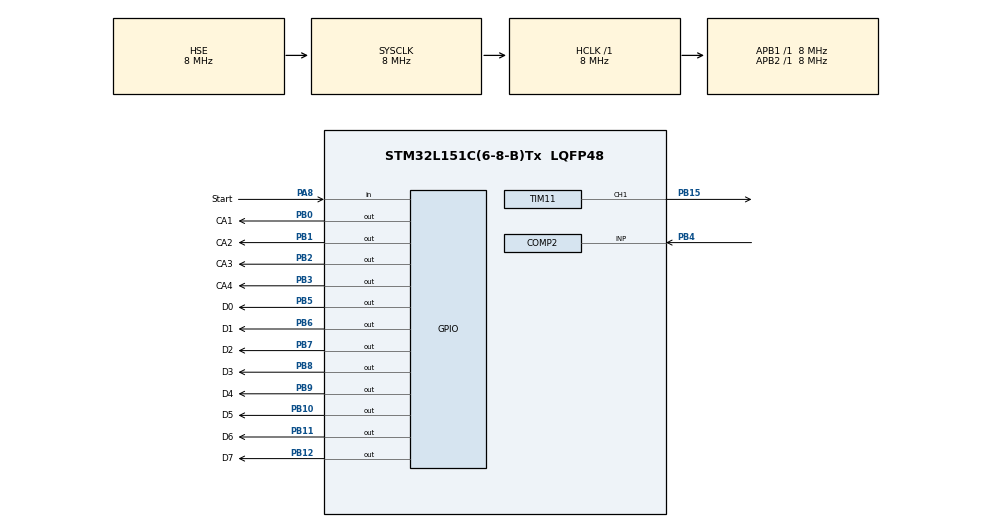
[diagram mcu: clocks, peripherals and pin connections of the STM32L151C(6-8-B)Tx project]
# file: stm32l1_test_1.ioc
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COMP2.InvertingInput=COMP_INVERTINGINPUT_VREFINT
COMP2.Mode=COMP_MODE_HIGHSPEED
COMP2.Output=COMP_OUTPUT_TIM4IC4
Mcu.Family=STM32L1
Mcu.Name=STM32L151C(6-8-B)Tx
Mcu.Package=LQFP48
NVIC.PriorityGroup=NVIC_PRIORITYGROUP_4
NVIC.TIM3_IRQn=true\:0\:0\:false\:false\:true\:true
NVIC.TIM4_IRQn=true\:0\:0\:false\:false\:true\:true
NVIC.TIM9_IRQn=true\:0\:0\:false\:false\:true\:true
PA8.GPIO_Label=Start
PA8.GPIO_PuPd=GPIO_PULLUP
PA8.Signal=GPIO_Input
PB0.GPIO_Label=CA1
PB0.Signal=GPIO_Output
PB1.GPIO_Label=CA2
PB1.Signal=GPIO_Output
PB10.GPIO_Label=D5
PB10.Signal=GPIO_Output
PB11.GPIO_Label=D6
PB11.Signal=GPIO_Output
PB12.GPIO_Label=D7
PB12.Signal=GPIO_Output
PB15.Signal=S_TIM11_CH1
PB2.GPIO_Label=CA3
PB2.Signal=GPIO_Output
PB3.GPIO_Label=CA4
PB3.Signal=GPIO_Output
PB4.Mode=INP
PB4.Signal=COMP2_INP
PB5.GPIO_Label=D0
PB5.Signal=GPIO_Output
PB6.GPIO_Label=D1
PB6.Signal=GPIO_Output
PB7.GPIO_Label=D2
PB7.Signal=GPIO_Output
PB8.GPIO_Label=D3
PB8.Signal=GPIO_Output
PB9.GPIO_Label=D4
PB9.Signal=GPIO_Output
PH0-OSC_IN.Mode=HSE-External-Oscillator
PH0-OSC_IN.Signal=RCC_OSC_IN
PH1-OSC_OUT.Mode=HSE-External-Oscillator
PH1-OSC_OUT.Signal=RCC_OSC_OUT
ProjectManager.HeapSize=0x200
ProjectManager.StackSize=0x400
ProjectManager.TargetToolchain=SW4STM32
RCC.48MHZClocksFreq_Value=48000000
RCC.AHBFreq_Value=8000000
RCC.APB1Freq_Value=8000000
RCC.APB1TimFreq_Value=8000000
RCC.APB2Freq_Value=8000000
RCC.APB2TimFreq_Value=8000000
RCC.HCLKFreq_Value=8000000
RCC.HSE_VALUE=8000000
RCC.HSI_VALUE=16000000
RCC.LSE_VALUE=32768
RCC.MSI_VALUE=2097000
RCC.PLLDIV=RCC_PLL_DIV3
RCC.PLLMUL=RCC_PLL_MUL12
RCC.PLLSourceVirtual=RCC_PLLSOURCE_HSE
RCC.SYSCLKFreq_VALUE=8000000
RCC.SYSCLKSource=RCC_SYSCLKSOURCE_HSE
RCC.TimPrescaler=SYSTICK_CLKSOURCE_HCLK_DIV8
RCC.VCOOutputFreq_Value=96000000
SH.S_TIM11_CH1.0=TIM11_CH1,PWM Generation1 CH1
TIM11.Channel=TIM_CHANNEL_1
TIM11.Period=2000-1
TIM11.Pulse=800-1
TIM3.Channel-Output\ Compare1\ No\ Output=TIM_CHANNEL_1
TIM3.Channel-Output\ Compare2\ No\ Output=TIM_CHANNEL_2
TIM3.Channel-Output\ Compare3\ No\ Output=TIM_CHANNEL_3
TIM3.Channel-Output\ Compare4\ No\ Output=TIM_CHANNEL_4
TIM3.Period=200-1
TIM3.Prescaler=400-1
TIM3.Pulse-Output\ Compare1\ No\ Output=25-1
TIM3.Pulse-Output\ Compare2\ No\ Output=75-1
TIM3.Pulse-Output\ Compare3\ No\ Output=125-1
TIM3.Pulse-Output\ Compare4\ No\ Output=175-1
TIM3.TIM_MasterOutputTrigger=TIM_TRGO_UPDATE
TIM4.Period=60000-1
TIM9.Period=2000-1
VP_COMP2_VS_VREFINT.Mode=VREFINT
VP_TIM11_VS_ClockSourceINT.Mode=Internal
VP_TIM3_VS_ClockSourceINT.Mode=Internal
VP_TIM3_VS_no_output1.Mode=Output Compare1 No Output
VP_TIM3_VS_no_output2.Mode=Output Compare2 No Output
VP_TIM3_VS_no_output3.Mode=Output Compare3 No Output
VP_TIM3_VS_no_output4.Mode=Output Compare4 No Output
VP_TIM4_VS_ClockSourceITR.Mode=TriggerSource_ITR2
VP_TIM4_VS_ControllerModeClock.Mode=Clock Mode
VP_TIM9_VS_ClockSourceITR.Mode=TriggerSource_ITR3
VP_TIM9_VS_ControllerModeClock.Mode=Clock Mode
board=stm32l1_test_1

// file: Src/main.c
/**
  ******************************************************************************
  * File Name          : main.c
  * Description        : Main program body
  ******************************************************************************
  ** This notice applies to any and all portions of this file
  * that are not between comment pairs USER CODE BEGIN and
  * USER CODE END. Other portions of this file, whether
  * inserted by the user or by software development tools
  * are owned by their respective copyright owners.
  *
  * COPYRIGHT(c) 2017 STMicroelectronics
  *
  * Redistribution and use in source and binary forms, with or without modification,
  * are permitted provided that the following conditions are met:
  *   1. Redistributions of source code must retain the above copyright notice,
  *      this list of conditions and the following disclaimer.
  *   2. Redistributions in binary form must reproduce the above copyright notice,
  *      this list of conditions and the following disclaimer in the documentation
  *      and/or other materials provided with the distribution.
  *   3. Neither the name of STMicroelectronics nor the names of its contributors
  *      may be used to endorse or promote products derived from this software
  *      without specific prior written permission.
  *
  * THIS SOFTWARE IS PROVIDED BY THE COPYRIGHT HOLDERS AND CONTRIBUTORS "AS IS"
  * AND ANY EXPRESS OR IMPLIED WARRANTIES, INCLUDING, BUT NOT LIMITED TO, THE
  * IMPLIED WARRANTIES OF MERCHANTABILITY AND FITNESS FOR A PARTICULAR PURPOSE ARE
  * DISCLAIMED. IN NO EVENT SHALL THE COPYRIGHT HOLDER OR CONTRIBUTORS BE LIABLE
  * FOR ANY DIRECT, INDIRECT, INCIDENTAL, SPECIAL, EXEMPLARY, OR CONSEQUENTIAL
  * DAMAGES (INCLUDING, BUT NOT LIMITED TO, PROCUREMENT OF SUBSTITUTE GOODS OR
  * SERVICES; LOSS OF USE, DATA, OR PROFITS; OR BUSINESS INTERRUPTION) HOWEVER
  * CAUSED AND ON ANY THEORY OF LIABILITY, WHETHER IN CONTRACT, STRICT LIABILITY,
  * OR TORT (INCLUDING NEGLIGENCE OR OTHERWISE) ARISING IN ANY WAY OUT OF THE USE
  * OF THIS SOFTWARE, EVEN IF ADVISED OF THE POSSIBILITY OF SUCH DAMAGE.
  *
  ******************************************************************************
  */

#include "main.h"
#include "stm32l1xx_hal.h"

/* USER CODE BEGIN Includes */
typedef uint8_t bool;
#define false 0
#define true (!false)

/* USER CODE END Includes */

COMP_HandleTypeDef hcomp2;

TIM_HandleTypeDef htim3;
TIM_HandleTypeDef htim4;
TIM_HandleTypeDef htim9;
TIM_HandleTypeDef htim11;

/* USER CODE BEGIN PV */
/* Private variables ---------------------------------------------------------*/
const uint16_t digdata[] = {0x07e0, 0x00c0, 0x0b60, 0x09e0, 0x0cc0,
                            0x0da0, 0x0fa0, 0x04f0, 0x0fe0, 0x0ce0};
const uint32_t resetdigit = 0x1fe0000f;

__IO uint8_t update;
__IO uint16_t leddat[] = {0x0000, 0x0000, 0x0000, 0x0000};

__IO uint16_t counts[10] = {0};
__IO uint32_t count_num;

/* USER CODE END PV */

void SystemClock_Config(void);
static void MX_GPIO_Init(void);
static void MX_TIM11_Init(void);
static void MX_TIM9_Init(void);
static void MX_TIM3_Init(void);
static void MX_TIM4_Init(void);
static void MX_COMP2_Init(void);

void HAL_TIM_MspPostInit(TIM_HandleTypeDef *htim);

/* USER CODE BEGIN PFP */
/* Private function prototypes -----------------------------------------------*/

/* USER CODE END PFP */

/* USER CODE BEGIN 0 */
static void Init(void)
{
  __HAL_RCC_SYSCFG_CLK_ENABLE();
  __HAL_RCC_PWR_CLK_ENABLE();

  HAL_NVIC_SetPriorityGrouping(NVIC_PRIORITYGROUP_4);

  /* System interrupt init*/
  /* MemoryManagement_IRQn interrupt configuration */
  HAL_NVIC_SetPriority(MemoryManagement_IRQn, 0, 0);
  /* BusFault_IRQn interrupt configuration */
  HAL_NVIC_SetPriority(BusFault_IRQn, 0, 0);
  /* UsageFault_IRQn interrupt configuration */
  HAL_NVIC_SetPriority(UsageFault_IRQn, 0, 0);
  /* SVC_IRQn interrupt configuration */
  HAL_NVIC_SetPriority(SVC_IRQn, 0, 0);
  /* DebugMonitor_IRQn interrupt configuration */
  HAL_NVIC_SetPriority(DebugMonitor_IRQn, 0, 0);
  /* PendSV_IRQn interrupt configuration */
  HAL_NVIC_SetPriority(PendSV_IRQn, 0, 0);
  /* SysTick_IRQn interrupt configuration */
  HAL_NVIC_SetPriority(SysTick_IRQn, 0, 0);

  /* Configure the system clock */
  RCC_ClkInitTypeDef RCC_ClkInitStruct;

  /**Configure the main internal regulator output voltage */
  __HAL_PWR_VOLTAGESCALING_CONFIG(PWR_REGULATOR_VOLTAGE_SCALE1);

  /**Initializes the CPU, AHB and APB busses clocks */
  /*------------------------------- HSE Configuration ------------------------*/
  SET_BIT(RCC->CR, RCC_CR_HSEON);

  /* Wait till HSE is ready */
  while(__HAL_RCC_GET_FLAG(RCC_FLAG_HSERDY) == RESET) ;

  /* Increasing the number of wait states because of higher CPU frequency */
  if(FLASH_LATENCY_0 > (FLASH->ACR & FLASH_ACR_LATENCY))
  {
    /* Program the new number of wait states to the LATENCY bits in the FLASH_ACR register */
    __HAL_FLASH_SET_LATENCY(FLASH_LATENCY_0);
  }

  /*-------------------------- HCLK Configuration --------------------------*/
  MODIFY_REG(RCC->CFGR, RCC_CFGR_HPRE, RCC_SYSCLK_DIV1);

  /*------------------------- SYSCLK Configuration ---------------------------*/
  /* HSE is selected as System Clock Source */
  __HAL_RCC_SYSCLK_CONFIG(RCC_SYSCLKSOURCE_HSE);

  while (__HAL_RCC_GET_SYSCLK_SOURCE() != RCC_SYSCLKSOURCE_STATUS_HSE);

  /* Decreasing the number of wait states because of lower CPU frequency */
  if(FLASH_LATENCY_0 < (FLASH->ACR & FLASH_ACR_LATENCY))
  {
      /* Program the new number of wait states to the LATENCY bits in the FLASH_ACR register */
    __HAL_FLASH_SET_LATENCY(FLASH_LATENCY_0);
  }

  /*-------------------------- PCLK1 Configuration ---------------------------*/
  MODIFY_REG(RCC->CFGR, RCC_CFGR_PPRE1, RCC_HCLK_DIV1);

  /*-------------------------- PCLK2 Configuration ---------------------------*/
  MODIFY_REG(RCC->CFGR, RCC_CFGR_PPRE2, ((RCC_HCLK_DIV1) << 3U));

  /* Update the SystemCoreClock global variable */
  SystemCoreClock = HSE_VALUE;

  /**Configure the Systick interrupt time */
  HAL_SYSTICK_Config(HSE_VALUE/8000);

  /**Configure the Systick */
  HAL_SYSTICK_CLKSourceConfig(SYSTICK_CLKSOURCE_HCLK_DIV8);
}

//void HAL_SYSTICK_Callback(void)
//{
//  update = 1;
//}

void HAL_TIM_OC_DelayElapsedCallback(TIM_HandleTypeDef *htim)
{
  if (htim->Instance == TIM3) {
    if (htim->Channel == HAL_TIM_ACTIVE_CHANNEL_1) {
      GPIOB->BSRR = resetdigit;
      GPIOB->BSRR = leddat[0] | 0x00010000;
    } else
    if (htim->Channel == HAL_TIM_ACTIVE_CHANNEL_2) {
      GPIOB->BSRR = resetdigit;
      GPIOB->BSRR = leddat[1] | 0x00020000;
    } else
    if (htim->Channel == HAL_TIM_ACTIVE_CHANNEL_3) {
      GPIOB->BSRR = resetdigit;
      GPIOB->BSRR = leddat[2] | 0x00040000;
    } else
    if (htim->Channel == HAL_TIM_ACTIVE_CHANNEL_4) {
      GPIOB->BSRR = resetdigit;
      GPIOB->BSRR = leddat[3] | 0x00080000;
    }
  }
}

void HAL_TIM_IC_CaptureCallback(TIM_HandleTypeDef *htim)
{
  if (htim->Instance == TIM4) {
    if (htim->Channel == HAL_TIM_ACTIVE_CHANNEL_4) {
      if (count_num < 9) {
        uint16_t cnt = __HAL_TIM_GET_COMPARE(&htim4, TIM_CHANNEL_4);
        if ( (cnt - counts[count_num]) >= 10) {
          counts[++count_num] = cnt;

          cnt += 10;
          if (cnt >= 60000) cnt -= 50000;
        }
      }
    }
  }
}

void start_buzzer(void)
{
  HAL_TIM_PWM_Start(&htim11, TIM_CHANNEL_1);
  __HAL_TIM_CLEAR_IT(&htim9, TIM_IT_UPDATE);
  HAL_TIM_Base_Start_IT(&htim9);
}

void stop_buzzer(void)
{
  HAL_TIM_PWM_Stop(&htim11, TIM_CHANNEL_1);
  HAL_TIM_Base_Stop_IT(&htim9);
}

void HAL_TIM_PeriodElapsedCallback(TIM_HandleTypeDef *htim)
{
  if (htim->Instance == TIM3) {
    update = 1;
  }

  else
  if (htim->Instance == TIM4) {
    __HAL_TIM_SET_COUNTER(&htim4, __HAL_TIM_GET_COUNTER(&htim4) + 10000);
  }

  else
  if (htim->Instance == TIM9) {
    stop_buzzer();
  }
}

void tim4_ic_enable(void)
{
  MX_COMP2_Init();
  HAL_COMP_Start(&hcomp2);

  /* Enable the Input Capture channel */
  TIM4->CCER |= TIM_CCER_CC4E;
  TIM4->DIER |= TIM_DIER_CC4IE;
}

static void set_led(uint16_t cnt)
{
  leddat[0] = digdata[cnt % 10];
  leddat[1] = digdata[(cnt / 10) % 10];
  leddat[2] = digdata[(cnt / 100) % 10] | 0x1000;
  if (cnt >= 1000) {
    leddat[3] = digdata[(cnt / 1000) % 10];
  } else {
    leddat[3] = 0;
  }
}

static void set_led_blink(uint16_t cnt, bool dot)
{
  leddat[0] = digdata[cnt % 10];
  leddat[1] = digdata[(cnt / 10) % 10];
  if (dot) {
    leddat[2] = digdata[(cnt / 100) % 10] | 0x1000;
  } else {
    leddat[2] = digdata[(cnt / 100) % 10];
  }
  if (cnt >= 1000) {
    leddat[3] = digdata[(cnt / 1000) % 10];
  } else {
    leddat[3] = 0;
  }
}

static bool idle(void)
{
  uint32_t disp_num = 0;
  uint8_t start_sw = 0;
  uint8_t disp_sw = 0;

  if (count_num) disp_num = 1;

  set_led(counts[disp_num]);

  do {
    update = 0;
    do {
    } while (!update);

    start_sw <<= 1;
    if (HAL_GPIO_ReadPin(Start_GPIO_Port, Start_Pin)) {
      start_sw += 1;
    }

    if (start_sw == 0xfe) {
      break;
    }

  } while (1);

  return false;
}

static bool run(void)
{
  uint8_t start_sw = 0;
  uint8_t disp_sw = 0;

  start_buzzer();

  HAL_TIM_GenerateEvent(&htim3, TIM_EVENTSOURCE_UPDATE);
  HAL_TIM_GenerateEvent(&htim4, TIM_EVENTSOURCE_UPDATE);
  count_num = 0;
  tim4_ic_enable();

  while (1)
  {
    update = 0;
    do {

    } while (!update);

    start_sw <<= 1;
    if (HAL_GPIO_ReadPin(Start_GPIO_Port, Start_Pin)) {
      start_sw += 1;
    }

    uint16_t cnt = __HAL_TIM_GET_COUNTER(&htim4);

    if (count_num < 1) {
      set_led_blink(cnt, ((cnt % 100) < 50));
    } else {
      set_led_blink(counts[count_num], ((cnt % 100) < 50));
    }

    if (count_num == 9) break;
  }

  TIM4->CCER &= ~(TIM_CCER_CC4E);
  TIM4->DIER &= ~(TIM_DIER_CC4IE);

  HAL_COMP_Stop(&hcomp2);
  HAL_COMP_DeInit(&hcomp2);

  return false;
}
/* USER CODE END 0 */

int main(void)
{

  /* USER CODE BEGIN 1 */
  Init();
  __HAL_RCC_COMP_CLK_ENABLE();

  /* USER CODE END 1 */

  /* MCU Configuration----------------------------------------------------------*/

  /* Reset of all peripherals, Initializes the Flash interface and the Systick. */
//  HAL_Init();

  /* Configure the system clock */
//  SystemClock_Config();

  /* USER CODE BEGIN SysInit */
  SysTick->CTRL &= ~(SysTick_CTRL_ENABLE_Msk);

  /* USER CODE END SysInit */

  /* Initialize all configured peripherals */
  MX_GPIO_Init();
  MX_TIM11_Init();
  MX_TIM9_Init();
  MX_TIM3_Init();
  MX_TIM4_Init();
  MX_COMP2_Init();

  /* USER CODE BEGIN 2 */
  {
    TIM_IC_InitTypeDef sConfigIC;

    sConfigIC.ICPolarity = TIM_INPUTCHANNELPOLARITY_RISING;
    sConfigIC.ICSelection = TIM_ICSELECTION_DIRECTTI;
    sConfigIC.ICPrescaler = TIM_ICPSC_DIV1;
    sConfigIC.ICFilter = 0;
    HAL_TIM_IC_ConfigChannel(&htim4, &sConfigIC, TIM_CHANNEL_4);
  }

  leddat[0] = leddat[1] = leddat[2] = leddat[3] = 0;

  HAL_TIM_Base_Start(&htim3);
  __HAL_TIM_CLEAR_IT(&htim3, TIM_IT_UPDATE | TIM_IT_CC1 | TIM_IT_CC2 | TIM_IT_CC3 | TIM_IT_CC4);
  __HAL_TIM_ENABLE_IT(&htim3, TIM_IT_UPDATE);
  __HAL_TIM_ENABLE_IT(&htim3, TIM_IT_CC1);
  __HAL_TIM_ENABLE_IT(&htim3, TIM_IT_CC2);
  __HAL_TIM_ENABLE_IT(&htim3, TIM_IT_CC3);
  __HAL_TIM_ENABLE_IT(&htim3, TIM_IT_CC4);

  HAL_TIM_Base_Start(&htim4);

  count_num = 0;

  /* USER CODE END 2 */

  /* Infinite loop */
  /* USER CODE BEGIN WHILE */
  while (1)
  {
    while ( idle() ) {}

    while ( run() ) {}
  }
  /* USER CODE END WHILE */

}

/** System Clock Configuration
*/
void SystemClock_Config(void)
{

  RCC_OscInitTypeDef RCC_OscInitStruct;
  RCC_ClkInitTypeDef RCC_ClkInitStruct;

    /**Configure the main internal regulator output voltage
    */
  __HAL_PWR_VOLTAGESCALING_CONFIG(PWR_REGULATOR_VOLTAGE_SCALE1);

    /**Initializes the CPU, AHB and APB busses clocks
    */
  RCC_OscInitStruct.OscillatorType = RCC_OSCILLATORTYPE_HSE;
  RCC_OscInitStruct.HSEState = RCC_HSE_ON;
  RCC_OscInitStruct.PLL.PLLState = RCC_PLL_NONE;
  if (HAL_RCC_OscConfig(&RCC_OscInitStruct) != HAL_OK)
  {
    _Error_Handler(__FILE__, __LINE__);
  }

    /**Initializes the CPU, AHB and APB busses clocks
    */
  RCC_ClkInitStruct.ClockType = RCC_CLOCKTYPE_HCLK|RCC_CLOCKTYPE_SYSCLK
                              |RCC_CLOCKTYPE_PCLK1|RCC_CLOCKTYPE_PCLK2;
  RCC_ClkInitStruct.SYSCLKSource = RCC_SYSCLKSOURCE_HSE;
  RCC_ClkInitStruct.AHBCLKDivider = RCC_SYSCLK_DIV1;
  RCC_ClkInitStruct.APB1CLKDivider = RCC_HCLK_DIV1;
  RCC_ClkInitStruct.APB2CLKDivider = RCC_HCLK_DIV1;

  if (HAL_RCC_ClockConfig(&RCC_ClkInitStruct, FLASH_LATENCY_0) != HAL_OK)
  {
    _Error_Handler(__FILE__, __LINE__);
  }

    /**Configure the Systick interrupt time
    */
  HAL_SYSTICK_Config(HAL_RCC_GetHCLKFreq()/8000);

    /**Configure the Systick
    */
  HAL_SYSTICK_CLKSourceConfig(SYSTICK_CLKSOURCE_HCLK_DIV8);

  /* SysTick_IRQn interrupt configuration */
  HAL_NVIC_SetPriority(SysTick_IRQn, 0, 0);
}

/* COMP2 init function */
static void MX_COMP2_Init(void)
{

  hcomp2.Instance = COMP2;
  hcomp2.Init.InvertingInput = COMP_INVERTINGINPUT_VREFINT;
  hcomp2.Init.NonInvertingInput = COMP_NONINVERTINGINPUT_PB4;
  hcomp2.Init.Output = COMP_OUTPUT_TIM4IC4;
  hcomp2.Init.Mode = COMP_MODE_HIGHSPEED;
  hcomp2.Init.WindowMode = COMP_WINDOWMODE_DISABLE;
  hcomp2.Init.TriggerMode = COMP_TRIGGERMODE_NONE;
  if (HAL_COMP_Init(&hcomp2) != HAL_OK)
  {
    _Error_Handler(__FILE__, __LINE__);
  }

}

/* TIM3 init function */
static void MX_TIM3_Init(void)
{

  TIM_ClockConfigTypeDef sClockSourceConfig;
  TIM_MasterConfigTypeDef sMasterConfig;
  TIM_OC_InitTypeDef sConfigOC;

  htim3.Instance = TIM3;
  htim3.Init.Prescaler = 400-1;
  htim3.Init.CounterMode = TIM_COUNTERMODE_UP;
  htim3.Init.Period = 200-1;
  htim3.Init.ClockDivision = TIM_CLOCKDIVISION_DIV1;
  if (HAL_TIM_Base_Init(&htim3) != HAL_OK)
  {
    _Error_Handler(__FILE__, __LINE__);
  }

  sClockSourceConfig.ClockSource = TIM_CLOCKSOURCE_INTERNAL;
  if (HAL_TIM_ConfigClockSource(&htim3, &sClockSourceConfig) != HAL_OK)
  {
    _Error_Handler(__FILE__, __LINE__);
  }

  if (HAL_TIM_OC_Init(&htim3) != HAL_OK)
  {
    _Error_Handler(__FILE__, __LINE__);
  }

  sMasterConfig.MasterOutputTrigger = TIM_TRGO_UPDATE;
  sMasterConfig.MasterSlaveMode = TIM_MASTERSLAVEMODE_DISABLE;
  if (HAL_TIMEx_MasterConfigSynchronization(&htim3, &sMasterConfig) != HAL_OK)
  {
    _Error_Handler(__FILE__, __LINE__);
  }

  sConfigOC.OCMode = TIM_OCMODE_TIMING;
  sConfigOC.Pulse = 25-1;
  sConfigOC.OCPolarity = TIM_OCPOLARITY_HIGH;
  sConfigOC.OCFastMode = TIM_OCFAST_DISABLE;
  if (HAL_TIM_OC_ConfigChannel(&htim3, &sConfigOC, TIM_CHANNEL_1) != HAL_OK)
  {
    _Error_Handler(__FILE__, __LINE__);
  }

  sConfigOC.Pulse = 75-1;
  if (HAL_TIM_OC_ConfigChannel(&htim3, &sConfigOC, TIM_CHANNEL_2) != HAL_OK)
  {
    _Error_Handler(__FILE__, __LINE__);
  }

  sConfigOC.Pulse = 125-1;
  if (HAL_TIM_OC_ConfigChannel(&htim3, &sConfigOC, TIM_CHANNEL_3) != HAL_OK)
  {
    _Error_Handler(__FILE__, __LINE__);
  }

  sConfigOC.Pulse = 175-1;
  if (HAL_TIM_OC_ConfigChannel(&htim3, &sConfigOC, TIM_CHANNEL_4) != HAL_OK)
  {
    _Error_Handler(__FILE__, __LINE__);
  }

}

/* TIM4 init function */
static void MX_TIM4_Init(void)
{

  TIM_SlaveConfigTypeDef sSlaveConfig;
  TIM_MasterConfigTypeDef sMasterConfig;

  htim4.Instance = TIM4;
  htim4.Init.Prescaler = 0;
  htim4.Init.CounterMode = TIM_COUNTERMODE_UP;
  htim4.Init.Period = 60000-1;
  htim4.Init.ClockDivision = TIM_CLOCKDIVISION_DIV1;
  if (HAL_TIM_Base_Init(&htim4) != HAL_OK)
  {
    _Error_Handler(__FILE__, __LINE__);
  }

  sSlaveConfig.SlaveMode = TIM_SLAVEMODE_EXTERNAL1;
  sSlaveConfig.InputTrigger = TIM_TS_ITR2;
  if (HAL_TIM_SlaveConfigSynchronization(&htim4, &sSlaveConfig) != HAL_OK)
  {
    _Error_Handler(__FILE__, __LINE__);
  }

  sMasterConfig.MasterOutputTrigger = TIM_TRGO_RESET;
  sMasterConfig.MasterSlaveMode = TIM_MASTERSLAVEMODE_DISABLE;
  if (HAL_TIMEx_MasterConfigSynchronization(&htim4, &sMasterConfig) != HAL_OK)
  {
    _Error_Handler(__FILE__, __LINE__);
  }

}

/* TIM9 init function */
static void MX_TIM9_Init(void)
{

  TIM_SlaveConfigTypeDef sSlaveConfig;
  TIM_MasterConfigTypeDef sMasterConfig;

  htim9.Instance = TIM9;
  htim9.Init.Prescaler = 0;
  htim9.Init.CounterMode = TIM_COUNTERMODE_UP;
  htim9.Init.Period = 2000-1;
  htim9.Init.ClockDivision = TIM_CLOCKDIVISION_DIV1;
  if (HAL_TIM_Base_Init(&htim9) != HAL_OK)
  {
    _Error_Handler(__FILE__, __LINE__);
  }

  sSlaveConfig.SlaveMode = TIM_SLAVEMODE_EXTERNAL1;
  sSlaveConfig.InputTrigger = TIM_TS_ITR3;
  if (HAL_TIM_SlaveConfigSynchronization(&htim9, &sSlaveConfig) != HAL_OK)
  {
    _Error_Handler(__FILE__, __LINE__);
  }

  sMasterConfig.MasterOutputTrigger = TIM_TRGO_RESET;
  sMasterConfig.MasterSlaveMode = TIM_MASTERSLAVEMODE_DISABLE;
  if (HAL_TIMEx_MasterConfigSynchronization(&htim9, &sMasterConfig) != HAL_OK)
  {
    _Error_Handler(__FILE__, __LINE__);
  }

}

/* TIM11 init function */
static void MX_TIM11_Init(void)
{

  TIM_ClockConfigTypeDef sClockSourceConfig;
  TIM_OC_InitTypeDef sConfigOC;

  htim11.Instance = TIM11;
  htim11.Init.Prescaler = 0;
  htim11.Init.CounterMode = TIM_COUNTERMODE_UP;
  htim11.Init.Period = 2000-1;
  htim11.Init.ClockDivision = TIM_CLOCKDIVISION_DIV1;
  if (HAL_TIM_Base_Init(&htim11) != HAL_OK)
  {
    _Error_Handler(__FILE__, __LINE__);
  }

  sClockSourceConfig.ClockSource = TIM_CLOCKSOURCE_INTERNAL;
  if (HAL_TIM_ConfigClockSource(&htim11, &sClockSourceConfig) != HAL_OK)
  {
    _Error_Handler(__FILE__, __LINE__);
  }

  if (HAL_TIM_PWM_Init(&htim11) != HAL_OK)
  {
    _Error_Handler(__FILE__, __LINE__);
  }

  sConfigOC.OCMode = TIM_OCMODE_PWM1;
  sConfigOC.Pulse = 800-1;
  sConfigOC.OCPolarity = TIM_OCPOLARITY_HIGH;
  sConfigOC.OCFastMode = TIM_OCFAST_DISABLE;
  if (HAL_TIM_PWM_ConfigChannel(&htim11, &sConfigOC, TIM_CHANNEL_1) != HAL_OK)
  {
    _Error_Handler(__FILE__, __LINE__);
  }

  HAL_TIM_MspPostInit(&htim11);

}

/** Configure pins as
        * Analog
        * Input
        * Output
        * EVENT_OUT
        * EXTI
*/
static void MX_GPIO_Init(void)
{

  GPIO_InitTypeDef GPIO_InitStruct;

  /* GPIO Ports Clock Enable */
  __HAL_RCC_GPIOH_CLK_ENABLE();
  __HAL_RCC_GPIOB_CLK_ENABLE();
  __HAL_RCC_GPIOA_CLK_ENABLE();

  /*Configure GPIO pin Output Level */
  HAL_GPIO_WritePin(GPIOB, CA1_Pin|CA2_Pin|CA3_Pin|D5_Pin
                          |D6_Pin|D7_Pin|CA4_Pin|D0_Pin
                          |D1_Pin|D2_Pin|D3_Pin|D4_Pin, GPIO_PIN_RESET);

  /*Configure GPIO pins : CA1_Pin CA2_Pin CA3_Pin D5_Pin
                           D6_Pin D7_Pin CA4_Pin D0_Pin
                           D1_Pin D2_Pin D3_Pin D4_Pin */
  GPIO_InitStruct.Pin = CA1_Pin|CA2_Pin|CA3_Pin|D5_Pin
                          |D6_Pin|D7_Pin|CA4_Pin|D0_Pin
                          |D1_Pin|D2_Pin|D3_Pin|D4_Pin;
  GPIO_InitStruct.Mode = GPIO_MODE_OUTPUT_PP;
  GPIO_InitStruct.Pull = GPIO_NOPULL;
  GPIO_InitStruct.Speed = GPIO_SPEED_FREQ_LOW;
  HAL_GPIO_Init(GPIOB, &GPIO_InitStruct);

  /*Configure GPIO pin : Start_Pin */
  GPIO_InitStruct.Pin = Start_Pin;
  GPIO_InitStruct.Mode = GPIO_MODE_INPUT;
  GPIO_InitStruct.Pull = GPIO_PULLUP;
  HAL_GPIO_Init(Start_GPIO_Port, &GPIO_InitStruct);

}

void _Error_Handler(char * file, int line)
{
  while(1)
  {
  }
}

/************************ (C) COPYRIGHT STMicroelectronics *****END OF FILE****/
